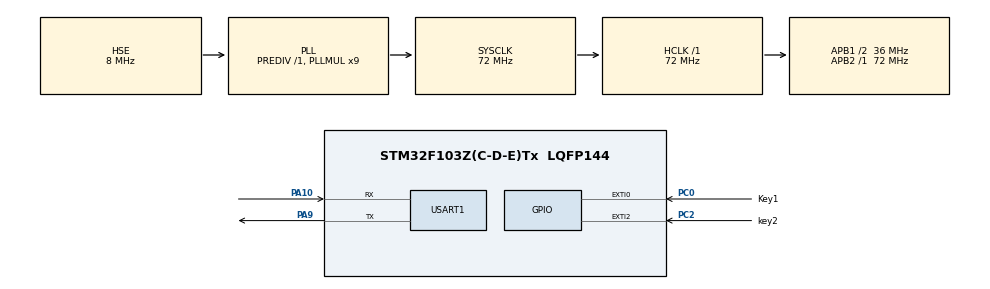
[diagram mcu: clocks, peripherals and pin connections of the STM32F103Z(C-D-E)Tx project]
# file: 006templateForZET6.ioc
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FREERTOS.Tasks01=defaultTask,0,128,StartDefaultTask,Default,NULL,Dynamic,NULL,NULL
FREERTOS.configTOTAL_HEAP_SIZE=20480
Mcu.Family=STM32F1
Mcu.Name=STM32F103Z(C-D-E)Tx
Mcu.Package=LQFP144
NVIC.EXTI0_IRQn=true\:5\:0\:false\:false\:true\:true\:true\:true\:true
NVIC.EXTI2_IRQn=true\:5\:0\:false\:false\:true\:true\:true\:true\:true
NVIC.PriorityGroup=NVIC_PRIORITYGROUP_4
NVIC.TIM1_UP_IRQn=true\:15\:0\:false\:false\:true\:false\:false\:true\:true
NVIC.TimeBase=TIM1_UP_IRQn
NVIC.TimeBaseIP=TIM1
OSC_IN.Mode=HSE-External-Oscillator
OSC_IN.Signal=RCC_OSC_IN
OSC_OUT.Mode=HSE-External-Oscillator
OSC_OUT.Signal=RCC_OSC_OUT
PA10.Mode=Asynchronous
PA10.Signal=USART1_RX
PA13.Mode=Serial_Wire
PA13.Signal=SYS_JTMS-SWDIO
PA14.Mode=Serial_Wire
PA14.Signal=SYS_JTCK-SWCLK
PA9.Mode=Asynchronous
PA9.Signal=USART1_TX
PC0.GPIO_Label=Key1
PC0.GPIO_PuPd=GPIO_PULLUP
PC0.Signal=GPXTI0
PC14-OSC32_IN.Mode=LSE-External-Oscillator
PC14-OSC32_IN.Signal=RCC_OSC32_IN
PC15-OSC32_OUT.Mode=LSE-External-Oscillator
PC15-OSC32_OUT.Signal=RCC_OSC32_OUT
PC2.GPIO_Label=key2
PC2.GPIO_PuPd=GPIO_PULLUP
PC2.Signal=GPXTI2
ProjectManager.HeapSize=0x200
ProjectManager.StackSize=0x400
ProjectManager.TargetToolchain=MDK-ARM V5.32
RCC.AHBFreq_Value=72000000
RCC.APB1CLKDivider=RCC_HCLK_DIV2
RCC.APB1Freq_Value=36000000
RCC.APB1TimFreq_Value=72000000
RCC.APB2Freq_Value=72000000
RCC.APB2TimFreq_Value=72000000
RCC.HCLKFreq_Value=72000000
RCC.PLLMUL=RCC_PLL_MUL9
RCC.PLLSourceVirtual=RCC_PLLSOURCE_HSE
RCC.SYSCLKFreq_VALUE=72000000
RCC.SYSCLKSource=RCC_SYSCLKSOURCE_PLLCLK
RCC.USBFreq_Value=72000000
USART1.VirtualMode=VM_ASYNC
VP_FREERTOS_VS_CMSIS_V1.Mode=CMSIS_V1
VP_SYS_VS_tim1.Mode=TIM1
board=custom

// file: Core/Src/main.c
/* USER CODE BEGIN Header */
/**
  ******************************************************************************
  * @file           : main.c
  * @brief          : Main program body
  ******************************************************************************
  * @attention
  *
  * Copyright (c) 2025 STMicroelectronics.
  * All rights reserved.
  *
  * This software is licensed under terms that can be found in the LICENSE file
  * in the root directory of this software component.
  * If no LICENSE file comes with this software, it is provided AS-IS.
  *
  ******************************************************************************
  */
/* USER CODE END Header */
#include "main.h"
#include "cmsis_os.h"
#include "usart.h"
#include "gpio.h"

void SystemClock_Config(void);
void MX_FREERTOS_Init(void);

int main(void)
{

  /* MCU Configuration--------------------------------------------------------*/

  /* Reset of all peripherals, Initializes the Flash interface and the Systick. */
  HAL_Init();

  /* Configure the system clock */
  SystemClock_Config();

  /* Initialize all configured peripherals */
  MX_GPIO_Init();
  MX_USART1_UART_Init();
  /* USER CODE BEGIN 2 */
  printf("Hello World!\r\n");
  /* USER CODE END 2 */

  /* Call init function for freertos objects (in cmsis_os2.c) */
  MX_FREERTOS_Init();

  /* Start scheduler */
  osKernelStart();

  /* We should never get here as control is now taken by the scheduler */

  /* Infinite loop */
  while (1)
  {

  }
}

void SystemClock_Config(void)
{
  RCC_OscInitTypeDef RCC_OscInitStruct = {0};
  RCC_ClkInitTypeDef RCC_ClkInitStruct = {0};

  /** Initializes the RCC Oscillators according to the specified parameters
  * in the RCC_OscInitTypeDef structure.
  */
  RCC_OscInitStruct.OscillatorType = RCC_OSCILLATORTYPE_HSE;
  RCC_OscInitStruct.HSEState = RCC_HSE_ON;
  RCC_OscInitStruct.HSEPredivValue = RCC_HSE_PREDIV_DIV1;
  RCC_OscInitStruct.HSIState = RCC_HSI_ON;
  RCC_OscInitStruct.PLL.PLLState = RCC_PLL_ON;
  RCC_OscInitStruct.PLL.PLLSource = RCC_PLLSOURCE_HSE;
  RCC_OscInitStruct.PLL.PLLMUL = RCC_PLL_MUL9;
  if (HAL_RCC_OscConfig(&RCC_OscInitStruct) != HAL_OK)
  {
    Error_Handler();
  }

  /** Initializes the CPU, AHB and APB buses clocks
  */
  RCC_ClkInitStruct.ClockType = RCC_CLOCKTYPE_HCLK|RCC_CLOCKTYPE_SYSCLK
                              |RCC_CLOCKTYPE_PCLK1|RCC_CLOCKTYPE_PCLK2;
  RCC_ClkInitStruct.SYSCLKSource = RCC_SYSCLKSOURCE_PLLCLK;
  RCC_ClkInitStruct.AHBCLKDivider = RCC_SYSCLK_DIV1;
  RCC_ClkInitStruct.APB1CLKDivider = RCC_HCLK_DIV2;
  RCC_ClkInitStruct.APB2CLKDivider = RCC_HCLK_DIV1;

  if (HAL_RCC_ClockConfig(&RCC_ClkInitStruct, FLASH_LATENCY_2) != HAL_OK)
  {
    Error_Handler();
  }
}

/* USER CODE BEGIN 4 */
void PRE_SLEEP_PROCESSING(void){
  __HAL_RCC_USART1_CLK_DISABLE();
}
void POST_SLEEP_PROCESSING(void){
  __HAL_RCC_USART1_CLK_ENABLE();
}
/* USER CODE END 4 */

void HAL_TIM_PeriodElapsedCallback(TIM_HandleTypeDef *htim)
{
  if (htim->Instance == TIM1)
  {
    HAL_IncTick();
  }
}

void Error_Handler(void)
{
  __disable_irq();
  while (1)
  {
  }
}

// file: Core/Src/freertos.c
/* USER CODE BEGIN Header */
/**
  ******************************************************************************
  * File Name          : freertos.c
  * Description        : Code for freertos applications
  ******************************************************************************
  * @attention
  *
  * Copyright (c) 2025 STMicroelectronics.
  * All rights reserved.
  *
  * This software is licensed under terms that can be found in the LICENSE file
  * in the root directory of this software component.
  * If no LICENSE file comes with this software, it is provided AS-IS.
  *
  ******************************************************************************
  */
/* USER CODE END Header */

#include "FreeRTOS.h"
#include "task.h"
#include "main.h"
#include "cmsis_os.h"

/* USER CODE BEGIN Includes */
#include "task1.h"
#include "task2.h"
#include "usart.h"
#include "semphr.h"
/* USER CODE END Includes */

osThreadId defaultTaskHandle;

/* USER CODE BEGIN FunctionPrototypes */
TaskHandle_t task1_handle;
TaskHandle_t task2_handle;
TaskHandle_t showTaskInfo_handle;
TaskHandle_t task3_handle;//receive task queue
QueueHandle_t semphore_handle;

/* USER CODE END FunctionPrototypes */

void StartDefaultTask(void const * argument);

void MX_FREERTOS_Init(void); /* (MISRA C 2004 rule 8.1) */

/* GetIdleTaskMemory prototype (linked to static allocation support) */
void vApplicationGetIdleTaskMemory( StaticTask_t **ppxIdleTaskTCBBuffer, StackType_t **ppxIdleTaskStackBuffer, uint32_t *pulIdleTaskStackSize );

/* USER CODE BEGIN GET_IDLE_TASK_MEMORY */
static StaticTask_t xIdleTaskTCBBuffer;
static StackType_t xIdleStack[configMINIMAL_STACK_SIZE];

void vApplicationGetIdleTaskMemory( StaticTask_t **ppxIdleTaskTCBBuffer, StackType_t **ppxIdleTaskStackBuffer, uint32_t *pulIdleTaskStackSize )
{
  *ppxIdleTaskTCBBuffer = &xIdleTaskTCBBuffer;
  *ppxIdleTaskStackBuffer = &xIdleStack[0];
  *pulIdleTaskStackSize = configMINIMAL_STACK_SIZE;
  /* place for user code */
}
/* USER CODE END GET_IDLE_TASK_MEMORY */

void MX_FREERTOS_Init(void) {

  /* Create the thread(s) */
  /* definition and creation of defaultTask */
  osThreadDef(defaultTask, StartDefaultTask, osPriorityNormal, 0, 128);
  defaultTaskHandle = osThreadCreate(osThread(defaultTask), NULL);

}

void StartDefaultTask(void const * argument)
{
  /* USER CODE BEGIN StartDefaultTask */
  taskENTER_CRITICAL();
  vSemaphoreCreateBinary(semphore_handle);
  xTaskCreate(task1, "task1", 128, NULL, 1, &task1_handle);
  xTaskCreate(task2, "task2", 128, NULL, 2, &task2_handle);
  vTaskDelete(NULL);
  taskEXIT_CRITICAL();

  //删除本任务

  /* Infinite loop */
  for(;;)
  {
    osDelay(4000);
  }
  /* USER CODE END StartDefaultTask */
}

/* USER CODE BEGIN Application */
//外部中断回调函数
uint64_t pretime;
void HAL_GPIO_EXTI_Callback(uint16_t GPIO_Pin) {
  uint64_t nowtime;
  BaseType_t err;
  if(GPIO_Pin == GPIO_PIN_0) {
    //中断处理
    nowtime = HAL_GetTick();
    if(nowtime - pretime < 100)return;
    printf("pressed\r\n");

    //给task1发送信号量
    err = xSemaphoreGiveFromISR(semphore_handle, NULL);
    if(err == pdTRUE){
      printf("释放信号量成功\r\n");
      printf("菜切好了\r\n");
    }
    else{
      printf("释放信号量失败\r\n");
    }
  }
  pretime = nowtime;
}
/* USER CODE END Application */
